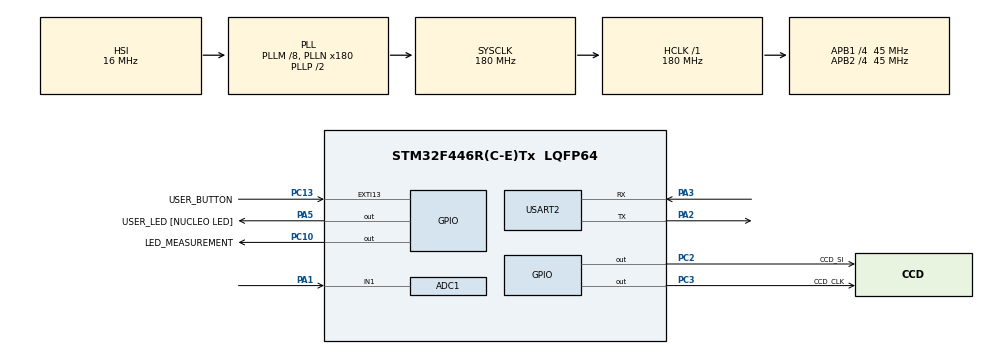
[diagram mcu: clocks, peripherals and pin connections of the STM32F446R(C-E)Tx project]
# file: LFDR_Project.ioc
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ADC1.Channel-0\#ChannelRegularConversion=ADC_CHANNEL_1
ADC1.ContinuousConvMode=DISABLE
ADC1.DMAContinuousRequests=ENABLE
ADC1.EOCSelection=ADC_EOC_SEQ_CONV
ADC1.ExternalTrigConv=ADC_EXTERNALTRIGCONV_T3_TRGO
ADC1.NbrOfConversion=1
ADC1.NbrOfConversionFlag=1
ADC1.Rank-0\#ChannelRegularConversion=1
ADC1.SamplingTime-0\#ChannelRegularConversion=ADC_SAMPLETIME_15CYCLES
ADC1.master=1
Dma.ADC1.0.Direction=DMA_PERIPH_TO_MEMORY
Dma.ADC1.0.FIFOMode=DMA_FIFOMODE_DISABLE
Dma.ADC1.0.Instance=DMA2_Stream0
Dma.ADC1.0.MemDataAlignment=DMA_MDATAALIGN_HALFWORD
Dma.ADC1.0.MemInc=DMA_MINC_ENABLE
Dma.ADC1.0.Mode=DMA_NORMAL
Dma.ADC1.0.PeriphDataAlignment=DMA_PDATAALIGN_HALFWORD
Dma.ADC1.0.PeriphInc=DMA_PINC_DISABLE
Dma.ADC1.0.Priority=DMA_PRIORITY_LOW
Dma.Request0=ADC1
Mcu.Family=STM32F4
Mcu.Name=STM32F446R(C-E)Tx
Mcu.Package=LQFP64
Mcu.UserConstants=APB1_TIMER_CLOCK_MHz,90;APB1_TIMER_1MHz_PSC,APB1_TIMER_CLOCK_MHz-1;CCD_READ_T2_ARR,150-1;CCD_CLEAR_T1_ARR,30-1;CCD_CLEAR_T2_ARR,((CCD_CLEAR_T1_ARR+1)*2)-1;CCD_READ_ADC_ARR,((CCD_READ_T2_ARR+1)*2)-1;CCD_READ_T1_ARR,((CCD_READ_T2_ARR+1)/2)-1;UINT32_MAX_,4294967295;APB1_TIMER_90MHz_PSC,0
NVIC.DMA2_Stream0_IRQn=true\:1\:0\:true\:false\:true\:false
NVIC.EXTI15_10_IRQn=true\:2\:0\:true\:false\:true\:true
NVIC.PriorityGroup=NVIC_PRIORITYGROUP_4
NVIC.TIM3_IRQn=true\:0\:0\:false\:false\:true\:true
NVIC.TIM4_IRQn=true\:0\:0\:false\:false\:true\:true
NVIC.TIM6_DAC_IRQn=true\:0\:0\:false\:false\:true\:true
PA0-WKUP.Mode=SYS_WakeUp0
PA0-WKUP.Signal=SYS_WKUP0
PA1.Signal=ADCx_IN1
PA2.Mode=Asynchronous
PA2.Signal=USART2_TX
PA3.Mode=Asynchronous
PA3.Signal=USART2_RX
PA5.GPIO_Label=USER_LED [NUCLEO LED]
PA5.Signal=GPIO_Output
PC10.GPIO_Label=LED_MEASUREMENT
PC10.GPIO_Speed=GPIO_SPEED_FREQ_LOW
PC10.Signal=GPIO_Output
PC13.GPIO_Label=USER_BUTTON
PC13.GPIO_ModeDefaultEXTI=GPIO_MODE_IT_FALLING
PC13.Signal=GPXTI13
PC2.GPIO_Label=CCD_SI
PC2.GPIO_PuPd=GPIO_NOPULL
PC2.GPIO_Speed=GPIO_SPEED_FREQ_VERY_HIGH
PC2.Signal=GPIO_Output
PC3.GPIO_Label=CCD_CLK
PC3.GPIO_Speed=GPIO_SPEED_FREQ_VERY_HIGH
PC3.PinState=GPIO_PIN_RESET
PC3.Signal=GPIO_Output
ProjectManager.HeapSize=0x200
ProjectManager.StackSize=0xFF00
ProjectManager.TargetToolchain=MDK-ARM V5
RCC.AHBFreq_Value=180000000
RCC.APB1CLKDivider=RCC_HCLK_DIV4
RCC.APB1Freq_Value=45000000
RCC.APB1TimFreq_Value=90000000
RCC.APB2CLKDivider=RCC_HCLK_DIV4
RCC.APB2Freq_Value=45000000
RCC.APB2TimFreq_Value=90000000
RCC.CortexFreq_Value=180000000
RCC.HCLKFreq_Value=180000000
RCC.HSE_VALUE=25000000
RCC.PLLM=8
RCC.PLLN=180
RCC.PREFETCH_ENABLE=1
RCC.SYSCLKFreq_VALUE=180000000
RCC.SYSCLKSource=RCC_SYSCLKSOURCE_PLLCLK
RCC.USBFreq_Value=180000000
RCC.VCOOutputFreq_Value=360000000
SH.ADCx_IN1.0=ADC1_IN1,IN1
TIM2.Period=UINT32_MAX_
TIM2.Prescaler=APB1_TIMER_1MHz_PSC
TIM3.CounterMode=TIM_COUNTERMODE_DOWN
TIM3.Period=CCD_READ_ADC_ARR
TIM3.Prescaler=0
TIM3.TIM_MasterOutputTrigger=TIM_TRGO_UPDATE
TIM4.Period=CCD_READ_T1_ARR
TIM6.Period=CCD_READ_T2_ARR
USART2.VirtualMode=VM_ASYNC
VP_TIM2_VS_ClockSourceINT.Mode=Internal
VP_TIM3_VS_ClockSourceINT.Mode=Internal
VP_TIM4_VS_ClockSourceINT.Mode=Internal
VP_TIM6_VS_ClockSourceINT.Mode=Enable_Timer
board=custom

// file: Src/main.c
/* USER CODE BEGIN Header */
/**
  ******************************************************************************
  * @file           : main.c
  * @brief          : Main program body
  ******************************************************************************
  ** This notice applies to any and all portions of this file
  * that are not between comment pairs USER CODE BEGIN and
  * USER CODE END. Other portions of this file, whether
  * inserted by the user or by software development tools
  * are owned by their respective copyright owners.
  *
  * COPYRIGHT(c) 2019 STMicroelectronics
  *
  * Redistribution and use in source and binary forms, with or without modification,
  * are permitted provided that the following conditions are met:
  *   1. Redistributions of source code must retain the above copyright notice,
  *      this list of conditions and the following disclaimer.
  *   2. Redistributions in binary form must reproduce the above copyright notice,
  *      this list of conditions and the following disclaimer in the documentation
  *      and/or other materials provided with the distribution.
  *   3. Neither the name of STMicroelectronics nor the names of its contributors
  *      may be used to endorse or promote products derived from this software
  *      without specific prior written permission.
  *
  * THIS SOFTWARE IS PROVIDED BY THE COPYRIGHT HOLDERS AND CONTRIBUTORS "AS IS"
  * AND ANY EXPRESS OR IMPLIED WARRANTIES, INCLUDING, BUT NOT LIMITED TO, THE
  * IMPLIED WARRANTIES OF MERCHANTABILITY AND FITNESS FOR A PARTICULAR PURPOSE ARE
  * DISCLAIMED. IN NO EVENT SHALL THE COPYRIGHT HOLDER OR CONTRIBUTORS BE LIABLE
  * FOR ANY DIRECT, INDIRECT, INCIDENTAL, SPECIAL, EXEMPLARY, OR CONSEQUENTIAL
  * DAMAGES (INCLUDING, BUT NOT LIMITED TO, PROCUREMENT OF SUBSTITUTE GOODS OR
  * SERVICES; LOSS OF USE, DATA, OR PROFITS; OR BUSINESS INTERRUPTION) HOWEVER
  * CAUSED AND ON ANY THEORY OF LIABILITY, WHETHER IN CONTRACT, STRICT LIABILITY,
  * OR TORT (INCLUDING NEGLIGENCE OR OTHERWISE) ARISING IN ANY WAY OUT OF THE USE
  * OF THIS SOFTWARE, EVEN IF ADVISED OF THE POSSIBILITY OF SUCH DAMAGE.
  *
  ******************************************************************************
  */
/* USER CODE END Header */

#include "main.h"
#include "adc.h"
#include "dma.h"
#include "tim.h"
#include "usart.h"
#include "gpio.h"

/* USER CODE BEGIN Includes */
#include "debug.h"
#include <stdio.h>
#include "stm32f4xx_lp_modes.h"
#include "ccd_sensor.h"
#include "utilities.h"

/* USER CODE END Includes */

/* USER CODE BEGIN PD */
//#define SUPER_DEBUG
#ifdef SUPER_DEBUG
# define static   // Define static to nothing, allows watching variables in watch
#endif

/* Define to use preprogrammed reading values useful for debugging */
//#define DEBUG_USE_STATIC_VALUES

/* Define to set the device to perform multiple readings with a
    common calibration, instead of returning to calibrate after each finished reading. */
#define REPEAT_MEASURENT_READING_WHILE

/*Define what to print!*/
/* Define to print the outputs needed to generate the calibration curve. */
//#define EXTRACT_CALIBRATION_CURVE_DATA

/* Define to print  (and allow graphing of) the individual calibration and test CCD readouts (integers readings).
    This will also result in a sleep at those prints, to make sure the output stays graphed.*/
//#define PRINT_RAW_CCD_READOUT

/* Define to print (and allow graphing of) the resulting ratio/delta array.*/
#define PRINT_RATIO_CCD_READOUT

/* Print the user feedback. Disable to allow for longer term logging etc. with minimal noise. */
#define PRINT_USER

/*  Toggleable Test Definitions.
    Still requires modification the the main flow for testing. */
//#define TCL1401CL_CLEAR_TESTING
//#define TCL1401CL_READ_ONLY_TESTING
//#define TCL1401CL_READ_SINGLE_TESTING

/* USER CODE END PD */

/* USER CODE BEGIN PV */

#ifdef DEBUG_USE_STATIC_VALUES
//Define some test arrays we can use for quicker/simpler debugging
uint32_t CCD_calib_test_arr[CCD_PIXEL_COUNT] = {
    2095,2129,2153,2152,2166,2168,2194,2206,2235,2256,2270,2287,2305,2326,2344,2371,2388,2404,2445,2456,2488,2513,2545,2584,2595,2589,2647,2669,2709,2744,2785,2824,2887,2964,3078,3125,3196,3197,3256,3283,3299,3314,3320,3263,3282,3415,3414,3412,3396,3395,3410,3412,3421,
    3444,3450,3460,3475,3481,3512,3540,3554,3577,3588,3600,3591,3581,3581,3568,3554,3556,3545,3531,3512,3493,3480,3470,3454,3460,3459,3465,3445,3429,3404,3369,3327,3326,3327,3336,3340,3274,3243,3219,3211,3136,3022,2958,2921,2880,2853,2848,2821,2799,2788,2758,2714,2661,
    2627,2618,2610,2564,2516,2484,2454,2421,2397,2378,2390,2359,2343,2336,2314,2299,2259,2249,2225,2215,2185,2168
};
uint32_t CCD_test_test_arr[CCD_PIXEL_COUNT] = {
    1951,1976,1989,1981,1988,1977,1992,1995,2025,2041,2046,2070,2078,2085,2068,2067,2064,2061,2097,2104,2134,2152,2181,2225,2239,2231,2309,2326,2375,2414,2465,2505,2573,2653,2765,2818,2898,2910,2994,3018,3038,3044,3049,3015,2996,3158,3182,3192,3167,3159,3182,3185,3191,
    3210,3216,3222,3225,3230,3258,3290,3304,3320,3328,3326,3318,3308,3307,3292,3262,3248,3229,3207,3178,3141,3113,3080,3053,3052,3054,3049,3008,2975,2925,2872,2814,2798,2820,2819,2812,2720,2687,2687,2689,2616,2512,2467,2461,2461,2478,2512,2533,2516,2501,2460,2423,2371,
    2337,2343,2335,2281,2231,2206,2188,2158,2145,2133,2154,2132,2129,2124,2112,2107,2078,2070,2058,2052,2027,2015
};
float32_t CCD_ratio_test_arr[CCD_PIXEL_COUNT] = {
    -0.030892,-0.031883,-0.028724,-0.028724,-0.024880,-0.024240,-0.023730,-0.020427,-0.020389,-0.018929,-0.017874,-0.014825,-0.014376,-0.011062,-0.009190,-0.006001,-0.001704,0.001258,0.004534,0.007777,0.011798,0.017179,0.021468,0.023709,0.026286,0.032687,0.036185,
    0.042537,0.047426,0.050693,0.054064,0.058989,0.061071,0.063921,0.064074,0.065183,0.064506,0.071450,0.068283,0.066242,0.063022,0.063460,0.063510,0.063181,0.059722,0.052415,0.049986,0.045306,0.044760,0.041950,0.041015,0.039740,0.037463,0.031983,0.029989,0.027608,
    0.025379,0.022899,0.020587,0.018810,0.017517,0.013991,0.012629,0.010325,0.009574,0.009569,0.009531,0.008317,0.007353,0.007053,0.008787,0.010878,0.013211,0.013713,0.012804,0.011311,0.010098,0.010049,0.012734,0.014840,0.019608,0.021978,0.025098,0.026427,0.028857,
    0.031772,0.034877,0.036785,0.037411,0.040033,0.042482,0.047926,0.052408,0.056884,0.062855,0.064852,0.067876,0.068606,0.070836,0.069602,0.071567,0.072473,0.072039,0.073171,0.073652,0.072567,0.071627,0.066875,0.062238,0.061834,0.062387,0.058456,0.054034,0.049565,
    0.046947,0.044220,0.039201,0.035840,0.030495,0.028583,0.025030,0.022142,0.018040,0.016196,0.013721,0.010187,0.009833,0.004795
};
#endif

/*  Define parameters that could be vairable between LFDs. */
const char * UNIT_OF_DETECTION = {"'ng/mL'"}; //Detection unit of LFD
const char * BIOMARKER_NAME = {"'pathogenic bacteria'"}; //Name of detected pathogen
#define TEST_TIME 5 //Time between using the LFD and it supposedly being ready. CURRENTLY UNUSED!
const char * TEST_TIME_UNIT = {"'minutes'"}; //Functioning time unit
#define CONTROL_STRIP_THRESHOLD 0.01f //Threshold of control strip before measurment is considred not working. NOT OPTIMISED

/* Define whether to use curve fitting or linear interpolation to determine the biomarker concentration. */
#define USE_INTERPOLATION_CURVE_FITTING
//#define USE_INTERPOLATION_LINEAR
#if defined (USE_INTERPOLATION_CURVE_FITTING) && defined (USE_INTERPOLATION_LINEAR)
# error Only one interpolation mode can be active at a time.
#endif

#ifdef USE_INTERPOLATION_CURVE_FITTING
/*  The equation of the calibration curve hsould be placed here. Make sure that the argument,n, is always
     surrounded by parenthesis, and that the entire expression is additionally surrounded by parenthesis:
        - (a*( + b)
        - (a*(n)*(n) + b*(n) + c)  ie: ((-0.003* (n)*(n) +0.03 (n) + 0.02))
    If more natural equations with exponentials and squareroots are to be used, math.h needs to included,
     but this will bloat the software and should be avoided.
    This function f(x) is the concentration, where x is the intensity response from the LFDR. */
# define CALIBRATION_FUNCTION(n) ( ((-233100.0f)*(n)*(n)*(n)) + ((30560.0f)*(n)*(n)) + ((42.58f)*(n)) - (1.706f) ) // -2.331e+05, 3.056e+04 , 42.58 , -1.706
# define LIMIT_OF_DETECTION 1.5f //ng/mL , will not be used in calculations, only to display to user that its less that LOD in sample
# define LOWER_BOUNDS_OF_DETECTION_RATIO 0.0f //The minimum possible output
# define UPPER_BOUNDS_OF_DETECTION_RATIO 0.1f //The maximum possible output
# define LOWER_BOUNDS_OF_DETECTION LIMIT_OF_DETECTION
# define UPPER_BOUNDS_OF_DETECTION CALIBRATION_FUNCTION(UPPER_BOUNDS_OF_DETECTION_RATIO)
#endif

#ifdef USE_INTERPOLATION_LINEAR
/* This setup was used int the start due to lacking a calibration curve, and is not verified in the current software state.*/
# define CALIBRATION_CURVE_DATA_POINTS 21
# define CALIBRATION_CURVE_AMPLITUDE 0
# define CALIBRATION_CURVE_CONCENTRATION 1
static const float32_t calibration_curve[2][CALIBRATION_CURVE_DATA_POINTS] =
{{
    0.0251201558564095,0.0252763893184618,0.0256355081315407,0.0264598748961960,0.0283464254621424,0.0326335769401872,0.0422225978331055,0.0629290900106217,0.104434552440458,0.176470358017296,0.275000000000000,0.373529641982704,0.445565447559542,0.487070909989378,0.507777402166894,0.517366423059813,0.521653574537858,0.523540125103804,0.524364491868459,0.524723610681538,0.524879844143591
},{
    0,500,1000,1500,2000,2500,3000,3500,4000,4500,5000,5500,6000,6500,7000,7500,8000,8500,9000,9500,10000
}};
#define LOWER_BOUNDS_OF_DETECTION_RATIO calibration_curve[1][0]
#define UPPER_BOUNDS_OF_DETECTION_RATIO calibration_curve[1][CALIBRATION_CURVE_DATA_POINTS-1]
#endif

/* Array to hold the latest CCD reading. This will be written to by DMA,
    and must be stored prior to the next CCD sensor reading.*/
extern uint32_t CCD_readout[CCD_PIXEL_COUNT]; //
/* The state of the CCD sensor. Used for internal flow control, and setup.*/
extern volatile CCD_Cycle_t CCD_state;
/*  Variables to store the initial (calibration) reading and the later
     test strip reading, as well as arrays for provessing. */
uint32_t    CCD_read_calibration[CCD_PIXEL_COUNT],
            CCD_read_measurement[CCD_PIXEL_COUNT];
int32_t     CCD_delta_cal_meas[CCD_PIXEL_COUNT];//; //Difference between cal and meas, which can be negative
float32_t       CCD_ratio_delta_cal[CCD_PIXEL_COUNT]; //Ratio of change from calibration.

/*  Variables used to process the measurements.
    - Pixel Indices for Test and Control Lines
    - Average value of Test and Control Lines Maxima
    - Average value of Minima Surrounding Maxima on either side
    - Difference between test and control maxima and minima. */
uint32_t    maxima_test_pix_idx,
            maxima_control_pix_idx;
float32_t   maxima_test_average_val,
        maxima_control_average_val,
        minima_test_average,
        minima_control_average,
        delta_test,
        delta_control;

/* Variables to store concentration and whether within bounds..*/
uint32_t    concentration,
            measurement_within_bounds;

/* USER CODE END PV */

void SystemClock_Config(void);

int main(void)
{

  /* MCU Configuration--------------------------------------------------------*/

  /* Reset of all peripherals, Initializes the Flash interface and the Systick. */
  HAL_Init();

  /* Configure the system clock */
  SystemClock_Config();

  /* Initialize all configured peripherals */
  MX_GPIO_Init();
  MX_DMA_Init();
  MX_USART2_UART_Init();
  MX_ADC1_Init();
  MX_TIM2_Init();
  MX_TIM3_Init();
  MX_TIM4_Init();
  MX_TIM6_Init();
  /* USER CODE BEGIN 2 */
#ifdef PRINT_USER
    printf("\r\n\nLFDR Active...\r\n\tSetup Complete...\r\n");
#endif

    // Perform Final Setup for timers and ADC/DMA, and set the CCD sensor into a HighZ known stat..
    LL_TIM_EnableIT_UPDATE(TIM3);
    LL_TIM_EnableIT_UPDATE(TIM4);
    LL_TIM_EnableIT_UPDATE(TIM6);
    DMA_ADC_Init();
    CCD_clear(); //Initialise the CCD sensor by clearing it, leaving it in a known state.
    CCD_state = IDLE_SETUP; //Force this state as clearing again next time will reqire this state to continue.

    DPRINT("\r\nDEBUG is active! Initialisation Complete... System Clock: %dMHz...\r\n", SystemCoreClock/1000000);

  /* USER CODE END 2 */

  /* Infinite loop */
  /* USER CODE BEGIN WHILE */
    while (1)    {
#ifdef PRINT_USER
        printf("\nReady for a new measurement...\
                \r\n\tPress 'button' to calibrate device with UNUSED LFD...\
                \r\n\tGoing to sleep...\r\n");
#endif
        /*Debug mode does not like the low_power_stop() func as it looses connectivity with the board.
            Comment out or define SUPER_DEBUG to negate this. */
#ifndef SUPER_DEBUG
        /*  Go into Deep Sleep Mode + sleep peripherals apart from ones needed, until button press of user_input
            WakeUp once starting */
        LL_AHB1_GRP1_DisableClock(LL_AHB1_GRP1_PERIPH_GPIOC);
        LL_AHB1_GRP1_DisableClock(LL_AHB1_GRP1_PERIPH_GPIOA);
        LL_APB2_GRP1_DisableClock(LL_APB2_GRP1_PERIPH_ADC1);
        low_power_stop(); //Will be gone out of via interrupt, so no timers etc. can be running unless you want them to!
        LL_AHB1_GRP1_EnableClock(LL_AHB1_GRP1_PERIPH_GPIOC);
        LL_AHB1_GRP1_EnableClock(LL_AHB1_GRP1_PERIPH_GPIOA);
        LL_APB2_GRP1_EnableClock(LL_APB2_GRP1_PERIPH_ADC1);
#endif

#ifdef PRINT_USER
        printf("Button press received!  Calibrating UNUSED LFD...\r\n");
#endif
        /*  Calibration Measurement!
            Turn LED ON and only do the necessary stuff when its on, then turn off and process data.
            First turn the LED on and allow for settling of the intensity.
            Then calibrate the sensor input and take an average reading.
            turn the LED off again, and finally move the calibration reading into CCD_read_calibration. */
        LED_MEASUREMENT_GPIO_Port->BSRR = LED_MEASUREMENT_Pin;
        HAL_Delay(T_STABILISE);
        /*Calibrate the CCD sensor. If not posible, print error. Currently nothing is done with error apart
            from printing, as it should never happen, but it means that the upper or lower integration time
            has been reached, corresponding to the LED being too bright or not bright/on at all. */
        if (CCD_calibrate() == 0) {
            /*  Error handling here*/
            printf("\tERROR in calibration! Continuing despite error..\r\n");
        }
        CCD_read_average();
        LED_MEASUREMENT_GPIO_Port->BSRR = (uint32_t)LED_MEASUREMENT_Pin << 16U; //Turn LED OFF
        move_CCD_data(CCD_readout, CCD_read_calibration);

#ifdef PRINT_RAW_CCD_READOUT
        /* Prints the integer readings from the sensor if this is desired, and sleeps the device
            to allow interpretation of the output before it is cleared by the next terminal output */
        DPRINT("CCD_read_calibration Reading:\r\n");
        print_CCD_array(CCD_read_calibration);
        low_power_sleep(); //Sleep to leave the trace on the screen
#endif

#ifdef REPEAT_MEASURENT_READING_WHILE
# ifdef PRINT_USER
        printf("\tCalibration Complete...\r\nExtract LFD -> Apply sample -> Re-insert USED LFD:\r\n\tPress 'button' once complete... Going to sleep...\r\n");
# endif
        while(1) {
#endif
#ifndef SUPER_DEBUG
            /*  Go To Sleep until ready - wait until button is pressed or a potential timer is ready (not implemented) */
            low_power_stop(); //Deep sleep //low_power_sleep(); //Light sleep for debug if necessary
#endif
# ifdef PRINT_USER
            printf("Button press received! Measurement of the LFD will commence in %d %s...\r\n", TEST_TIME, (char*)TEST_TIME_UNIT);
# endif
            /*  A wait is to be implemented here equal to the TEST_TIME
                Currently, the measurement will happen immediately. */

#ifdef PRINT_USER
            printf("\tMeasuring USED LFD...\r\n");
#endif
            /*  Measurement of Used LFD*/
            LED_MEASUREMENT_GPIO_Port->BSRR = LED_MEASUREMENT_Pin; //Turn LED ON
            HAL_Delay(T_STABILISE);
            CCD_read_average();
            LED_MEASUREMENT_GPIO_Port->BSRR = (uint32_t)LED_MEASUREMENT_Pin << 16U; //Turn LED OFF
            move_CCD_data(CCD_readout, CCD_read_measurement);

#ifdef PRINT_RAW_CCD_READOUT
            DPRINT("CCD_read_measurement Reading:\r\n");
            print_CCD_array(CCD_read_measurement);
            low_power_sleep(); //Sleep to leave the trace on the screen
#endif

#ifdef PRINT_USER
            printf("\tProcessing...\r\n");
#endif
#ifdef DEBUG_USE_STATIC_VALUES
            //Testing by overwriting current data with previ captured CCD data!
            DPRINT("Using previously captured data! Comment if wanting actual readings!\r\n");
            move_CCD_data(CCD_calib_test_arr, CCD_read_calibration);
            move_CCD_data(CCD_test_test_arr , CCD_read_measurement);
#endif

            /* Calculate the difference between cal and meas, and then find the percentage change*/
            for (uint_fast16_t i = 0; i < CCD_PIXEL_COUNT; i++) {
                CCD_delta_cal_meas[i] = CCD_read_calibration[i] - CCD_read_measurement[i];
                CCD_ratio_delta_cal[i] = (float32_t)(CCD_delta_cal_meas[i]) / CCD_read_calibration[i]; //TODO WRONG! Facking weasley
            }

#ifdef DEBUG_USE_STATIC_VALUES
            /* Set the ratio array to a predetermined value */
            for (uint_fast16_t i = 0; i < CCD_PIXEL_COUNT; i++) {
                CCD_ratio_delta_cal[i] = CCD_ratio_test_arr[i];
            }
#endif

            /* DO the processing to find the concentration */
            //find maxima and their average value
            maxima_test_pix_idx = find_maxima_range(CCD_ratio_delta_cal, 0, CCD_MAX_PIXEL_SCAN_TEST_LINE);
            maxima_control_pix_idx = find_maxima_range(CCD_ratio_delta_cal, CCD_MAX_PIXEL_SCAN_CONTROL_LINE, CCD_PIXEL_COUNT);
            maxima_test_average_val = calculate_average_extrema_value(CCD_ratio_delta_cal, maxima_test_pix_idx, NUM_PIX_AVERAGE_MAX);
            maxima_control_average_val = calculate_average_extrema_value(CCD_ratio_delta_cal, maxima_control_pix_idx, NUM_PIX_AVERAGE_MAX);

            //find minima surrounding the maxima, find average value
            minima_test_average = calculate_minima_average_value(CCD_ratio_delta_cal, maxima_test_pix_idx,
                0, CCD_PIXEL_COUNT_THREE_QUARTER, NUM_PIX_AVERAGE_MIN);
            minima_control_average = calculate_minima_average_value(CCD_ratio_delta_cal, maxima_control_pix_idx,
                CCD_PIXEL_COUNT_ONE_QUARTER, CCD_PIXEL_COUNT, NUM_PIX_AVERAGE_MIN);

            //Find difference between maxima and minima
            delta_test = maxima_test_average_val - minima_test_average;
            delta_control = maxima_control_average_val - minima_control_average;

            /* Print some values useful when developing and debugging the software! */
            DPRINT("Debug Variables:\r\n\tTmax_pixel %d, Tmax: %f \tCmax_pixel %d, Cmax: %f \r\n\tTmin %f, Cmin %f \r\n\tTmax/Tmin %f, Cmax/Cmin %f\r\n",
                maxima_test_pix_idx, maxima_test_average_val, maxima_control_pix_idx, maxima_control_average_val,
                minima_test_average, minima_control_average, delta_test, delta_control);

            /* If a calibratin curve is being developed, this is the output to be used for generatic this. */
#ifdef EXTRACT_CALIBRATION_CURVE_DATA
            /* Print the values encesssary for generating the caliration curve!  */
            printf("Calibration Curve:\r\n\tTmax_pixel %d, Tmax: %f \tCmax_pixel %d, Cmax: %f \r\n\tTmin %f, Cmin %f \r\n\tTmax/Tmin %f, Cmax/Cmin %f\r\n",
                maxima_test_pix_idx, maxima_test_average_val, maxima_control_pix_idx, maxima_control_average_val,
                minima_test_average, minima_control_average, delta_test, delta_control);
#endif

            /*  Check if control strip is above threshold to make sure the test can be trusted,
                and then do the necessary interpolation and user feedback depending on the interpolation
                method used/defined. */
            if ( delta_control >= CONTROL_STRIP_THRESHOLD ) {
#ifdef USE_INTERPOLATION_LINEAR
                /*  Check if the value is within bounds of the calibration array */
                if (delta_test < calibration_curve[CALIBRATION_CURVE_AMPLITUDE][0]) {
                    //check if the value is less than the minimum concetration, set to 0 if it is.
                    measurement_within_bounds = 2; //Set to something neq 1 so we can catch the underfow if we want.
                } else if (delta_test > calibration_curve[CALIBRATION_CURVE_AMPLITUDE][CALIBRATION_CURVE_DATA_POINTS-1]) {
                    measurement_within_bounds = 0; //set to 0 se we can display out of bounds error.
                } else {
                    measurement_within_bounds = 1;
                    /* Find the concentration through linear interpolation of the calibration array and our test data*/
                    //cycle through the calib array and find which linear segment the test strip delta is between.
                    for (uint_fast16_t i = 0; i < CALIBRATION_CURVE_DATA_POINTS-1; i++) {
                        /*  If delta is bigger than the next measurement, go to the measurement */
                        if (delta_test >= calibration_curve[CALIBRATION_CURVE_AMPLITUDE][i+1]) continue;
                        /*
                        If code reaches here, test data lies within this segment:
                            Perform linear interpolation:
                            With point A and B being the points of a straight line, and point C (delta_test) is on that line,
                              can be expressed in X value by the same ratio of the Y values of the points
                            Since the ratio between the X and Y delta is equal we can write:
                                (yB-yA)/(yC-yA) = (xB-xA)/(xC-xA)
                            We can solve this for xC, so that xC = ( ( ( (yC-yA)(xB-xA) ) / (yB-yA) ) + xA ) */
                        /* The term (yC-yA):*/
                        float32_t delta_test_y = delta_test
                            - calibration_curve[CALIBRATION_CURVE_AMPLITUDE][i];
                        /* The term (xB-xA):*/
                        float32_t delta_segment_x = calibration_curve[CALIBRATION_CURVE_CONCENTRATION][i+1]
                            - calibration_curve[CALIBRATION_CURVE_CONCENTRATION][i];
                        /* The term ((yB-yA):*/
                        float32_t delta_segment_y = calibration_curve[CALIBRATION_CURVE_AMPLITUDE][i+1]
                            - calibration_curve[CALIBRATION_CURVE_AMPLITUDE][i];

                        /*  Use the above equation to solve for the concentration */
                        concentration = ( ( ( delta_test_y*delta_segment_x ) / delta_segment_y ) \
                                            + calibration_curve[CALIBRATION_CURVE_CONCENTRATION][i] );
                        break; // Exit for loop and finish measurement by printing information.
                    }
                }
#endif
#ifdef USE_INTERPOLATION_CURVE_FITTING
                /*  Check if the value is within bounds of the calibration array */
                if (delta_test < LOWER_BOUNDS_OF_DETECTION_RATIO) {
                    //check if the value is less than the minimum concetration, set to 0 if it is.
                    measurement_within_bounds = 2; //Set to something neq 1 so we can catch the underfow if we want.
                } else if (delta_test > UPPER_BOUNDS_OF_DETECTION_RATIO) {
                    measurement_within_bounds = 0; //set to 0 se we can display out of bounds error.
                } else {
                    measurement_within_bounds = 1;
                    /* Find the concentration through curve fitting.
                        Assuming the concentration is positive, 0.5f is added to round the
                        integer correctly, as integers only take the floor of the float.*/
                    concentration = (CALIBRATION_FUNCTION(delta_test)+0.5f);
                }
#endif
#ifdef PRINT_USER
                /* Do the final user reporting prior to going back to sleep waithing for a new LFD to measure. */
                if (measurement_within_bounds == 1) {
                    printf("Measurement Successful: The concentration of %s is %d %s.\r\n",
                        (char*)BIOMARKER_NAME, concentration, (char*)UNIT_OF_DETECTION);
                } else if (measurement_within_bounds == 2) {
                    printf("Measurement Successful: The concentration of '%s' is less than can be measured: < '%.2f' %s.\r\n",
                        (char*)BIOMARKER_NAME, (float32_t)LOWER_BOUNDS_OF_DETECTION, (char*)UNIT_OF_DETECTION);
                } else if (measurement_within_bounds == 0) {
                    printf("Measurement Successful: The concentration of '%s' is more than can be measured: > '%.2f' %s.\r\n",
                        (char*)BIOMARKER_NAME, (float32_t)UPPER_BOUNDS_OF_DETECTION, (char*)UNIT_OF_DETECTION);
                }
#endif
            } else { //If the control strip did not appear and the test was not valid, print some useful user feedback
#ifdef PRINT_USER
                printf("Measurement UNsuccessful: The control line did not appear!\r\n\
\tPossible Causes can be:\r\n\
\t - Insufficient sample volume\r\n\
\t - Malfunctioning LFD\r\n\
\t - Measurement Error\r\n");
#endif
            }
            DPRINT("Non-rounded value for testing: %.3f\r\n", CALIBRATION_FUNCTION(delta_test));
#ifdef PRINT_RATIO_CCD_READOUT
            DPRINT("Delta_test , delta_control, CCD_ratio_delta_cal array:%f;%f;\r\n",delta_test, delta_control);
            print_CCD_array_float32_t(CCD_ratio_delta_cal); //For testing and calibration curve generation
#endif
#ifdef REPEAT_MEASURENT_READING_WHILE
        } //Repeated measurement reading while Bracket
#endif
    /* USER CODE END WHILE */

    }
}

void SystemClock_Config(void)
{
  RCC_OscInitTypeDef RCC_OscInitStruct = {0};
  RCC_ClkInitTypeDef RCC_ClkInitStruct = {0};

  /**Configure the main internal regulator output voltage
  */
  __HAL_RCC_PWR_CLK_ENABLE();
  __HAL_PWR_VOLTAGESCALING_CONFIG(PWR_REGULATOR_VOLTAGE_SCALE1);
  /**Initializes the CPU, AHB and APB busses clocks
  */
  RCC_OscInitStruct.OscillatorType = RCC_OSCILLATORTYPE_HSI;
  RCC_OscInitStruct.HSIState = RCC_HSI_ON;
  RCC_OscInitStruct.HSICalibrationValue = RCC_HSICALIBRATION_DEFAULT;
  RCC_OscInitStruct.PLL.PLLState = RCC_PLL_ON;
  RCC_OscInitStruct.PLL.PLLSource = RCC_PLLSOURCE_HSI;
  RCC_OscInitStruct.PLL.PLLM = 8;
  RCC_OscInitStruct.PLL.PLLN = 180;
  RCC_OscInitStruct.PLL.PLLP = RCC_PLLP_DIV2;
  RCC_OscInitStruct.PLL.PLLQ = 2;
  RCC_OscInitStruct.PLL.PLLR = 2;
  if (HAL_RCC_OscConfig(&RCC_OscInitStruct) != HAL_OK)
  {
    Error_Handler();
  }
  /**Activate the Over-Drive mode
  */
  if (HAL_PWREx_EnableOverDrive() != HAL_OK)
  {
    Error_Handler();
  }
  /**Initializes the CPU, AHB and APB busses clocks
  */
  RCC_ClkInitStruct.ClockType = RCC_CLOCKTYPE_HCLK|RCC_CLOCKTYPE_SYSCLK
                              |RCC_CLOCKTYPE_PCLK1|RCC_CLOCKTYPE_PCLK2;
  RCC_ClkInitStruct.SYSCLKSource = RCC_SYSCLKSOURCE_PLLCLK;
  RCC_ClkInitStruct.AHBCLKDivider = RCC_SYSCLK_DIV1;
  RCC_ClkInitStruct.APB1CLKDivider = RCC_HCLK_DIV4;
  RCC_ClkInitStruct.APB2CLKDivider = RCC_HCLK_DIV4;

  if (HAL_RCC_ClockConfig(&RCC_ClkInitStruct, FLASH_LATENCY_5) != HAL_OK)
  {
    Error_Handler();
  }
}

void Error_Handler(void)
{
}

/************************ (C) COPYRIGHT STMicroelectronics *****END OF FILE****/
